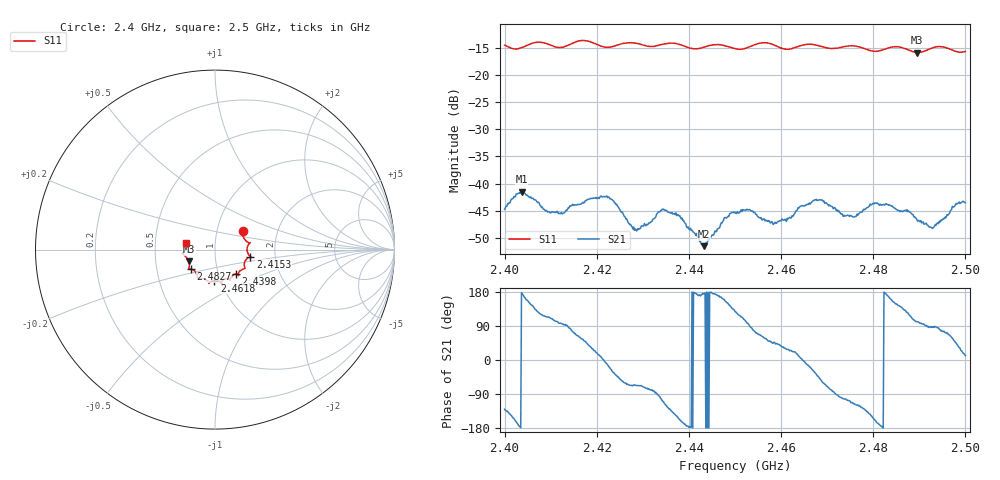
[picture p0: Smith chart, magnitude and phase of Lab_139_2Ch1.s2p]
# Hz S RI R 50
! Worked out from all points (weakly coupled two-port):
!   601 points, 2.4 GHz to 2.5 GHz, reference 50 ohm
!   highest |S21| = -41.50 dB at 2.4037 GHz (marker M1); lowest = -51.5 dB at 2.4433 GHz (marker M2)
!   lowest |S11| = -15.9 dB at 2.4895 GHz (marker M3), VSWR 1.38, Z = 37 - j5.03 ohm
!   |S11| at or under -10 dB: start of sweep to end of sweep
!   S12 and S22 are empty: the file has one direction only
!   S11 on the Smith chart (normalised r, x): 2.4 GHz: 1.33, +0.29; 2.4153 GHz: 1.48, -0.12; 2.4398 GHz: 1.21, -0.34; 2.4618 GHz: 0.94, -0.33; 2.4827 GHz: 0.75, -0.17; 2.5 GHz: 0.72, +0.06
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2.4e9  0.155 0.106  -0.00373 -0.00445  0 0  0 0
2.403667e9  0.1704 0.0513  -0.00841 0.000383  0 0  0 0
2.409667e9  0.1878 0.0301  -0.00214 0.00509  0 0  0 0
2.415333e9  0.1966 -0.0392  0.00221 0.00598  0 0  0 0
2.416667e9  0.2024 -0.0432  0.00363 0.00541  0 0  0 0
2.4225e9  0.165 -0.0702  0.0073 -0.00199  0 0  0 0
2.428667e9  0.164 -0.1052  0.00143 -0.00338  0 0  0 0
2.433333e9  0.1301 -0.1341  -0.00027 -0.00546  0 0  0 0
2.437667e9  0.13 -0.1416  -0.00461 -0.00232  0 0  0 0
2.439833e9  0.1151 -0.1363  -0.00398 -0.000384  0 0  0 0
2.443333e9  0.0869 -0.158  -0.00265 0.00017  0 0  0 0
2.45e9  0.065 -0.1618  -0.0033 0.00425  0 0  0 0
2.453e9  0.0382 -0.1759  -0.000367 0.00575  0 0  0 0
2.458667e9  0.0335 -0.184  0.00311 0.00314  0 0  0 0
2.461833e9  -0.00324 -0.1727  0.00447 0.00201  0 0  0 0
2.466667e9  -0.0348 -0.1879  0.00618 -0.00281  0 0  0 0
2.475833e9  -0.0949 -0.1585  -0.0021 -0.00447  0 0  0 0
2.482667e9  -0.1349 -0.1089  -0.00645 0.000557  0 0  0 0
2.483333e9  -0.1401 -0.1085  -0.00618 0.00139  0 0  0 0
2.4895e9  -0.1461 -0.0663  -0.000905 0.00453  0 0  0 0
2.492833e9  -0.1751 -0.0275  0.000235 0.00386  0 0  0 0
2.5e9  -0.1597 0.0388  0.00655 0.00135  0 0  0 0
